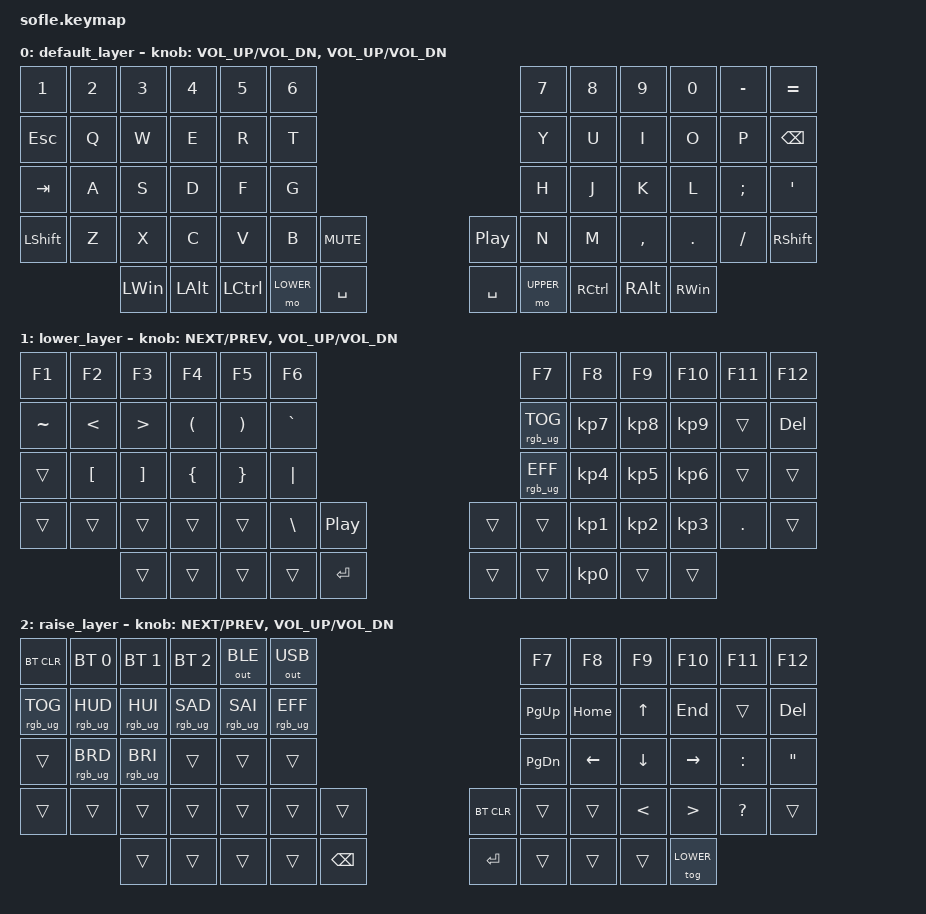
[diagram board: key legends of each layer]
/*
 * Copyright (c) 2020 The ZMK Contributors
 *
 * SPDX-License-Identifier: MIT
 */
#include <behaviors.dtsi>
#include <dt-bindings/zmk/keys.h>
#include <dt-bindings/zmk/bt.h>
#include <dt-bindings/zmk/rgb.h>
#include <dt-bindings/zmk/ext_power.h>
#include <dt-bindings/zmk/outputs.h>

#define WIN 0
#define LOWER 1
#define UPPER 2
 
/ {
    keymap {
        compatible = "zmk,keymap";
        default_layer {
            bindings = <
&kp N1      &kp N2  &kp N3   &kp N4   &kp N5    &kp N6                                          &kp N7      &kp N8    &kp N9    &kp N0   &kp MINUS &kp EQUAL
&kp ESC     &kp Q   &kp W    &kp E    &kp R     &kp T                                           &kp Y       &kp U     &kp I     &kp O    &kp P     &kp BSPC
&kp TAB     &kp A   &kp S    &kp D    &kp F     &kp G                                           &kp H       &kp J     &kp K     &kp L    &kp SEMI  &kp SQT
&kp LSHFT   &kp Z   &kp X    &kp C    &kp V     &kp B     &kp C_MUTE                  &kp C_PP  &kp N       &kp M     &kp COMMA &kp DOT  &kp FSLH  &kp RSHFT
                    &kp LWIN &kp LALT &kp LCTRL &mo LOWER &kp SPACE                   &kp SPACE &mo UPPER   &kp RCTRL &kp RALT  &kp RWIN

            >;
            sensor-bindings = <&inc_dec_kp C_VOL_UP C_VOL_DN &inc_dec_cp C_VOL_UP C_VOL_DN>;
        };
             lower_layer {
            bindings = <
&kp F1    &kp F2    &kp F3    &kp F4      &kp F5      &kp F6                              &kp F7    &kp F8      &kp F9     &kp F10    &kp F11    &kp F12
&kp TILDE &kp LT    &kp GT    &kp LPAR    &kp RPAR    &kp GRAVE                           &rgb_ug RGB_TOG    &kp KP_N7   &kp KP_N8  &kp KP_N9  &trans     &kp DEL    
&trans    &kp LBKT  &kp RBKT  &kp LBRC    &kp RBRC    &kp PIPE                            &rgb_ug RGB_EFF    &kp KP_N4   &kp KP_N5  &kp KP_N6  &trans     &trans
&trans    &trans    &trans    &trans      &trans      &kp BSLH  &kp C_PP          &trans  &trans    &kp KP_N1   &kp KP_N2  &kp KP_N3  &kp DOT    &trans
                    &trans    &trans      &trans      &trans    &kp ENTER         &trans  &trans    &kp KP_N0   &trans     &trans
            >;
            sensor-bindings = <&inc_dec_kp C_NEXT C_PREV &inc_dec_cp C_VOL_UP C_VOL_DN>;
        };
       raise_layer {
            bindings = <
&bt BT_CLR      &bt BT_SEL 0    &bt BT_SEL 1    &bt BT_SEL 2    &out OUT_BLE    &out OUT_USB                   &kp F7    &kp F8    &kp F9   &kp F10   &kp F11    &kp F12
&rgb_ug RGB_TOG &rgb_ug RGB_HUD &rgb_ug RGB_HUI &rgb_ug RGB_SAD &rgb_ug RGB_SAI &rgb_ug RGB_EFF                &kp PG_UP &kp HOME  &kp UP   &kp END   &trans     &kp DEL
&trans          &rgb_ug RGB_BRD &rgb_ug RGB_BRI &trans          &trans          &trans                         &kp PG_DN &kp LEFT  &kp DOWN &kp RIGHT &kp COLON  &kp DQT
&trans          &trans          &trans          &trans          &trans          &trans   &trans      &bt BT_CLR    &trans    &trans    &kp LT   &kp GT    &kp QMARK  &trans
                                &trans          &trans          &trans          &trans   &kp BSPC    &kp ENTER &trans    &trans    &trans   &tog LOWER
            >;
            sensor-bindings = <&inc_dec_kp C_NEXT C_PREV &inc_dec_cp C_VOL_UP C_VOL_DN>;
        };
    };
};
